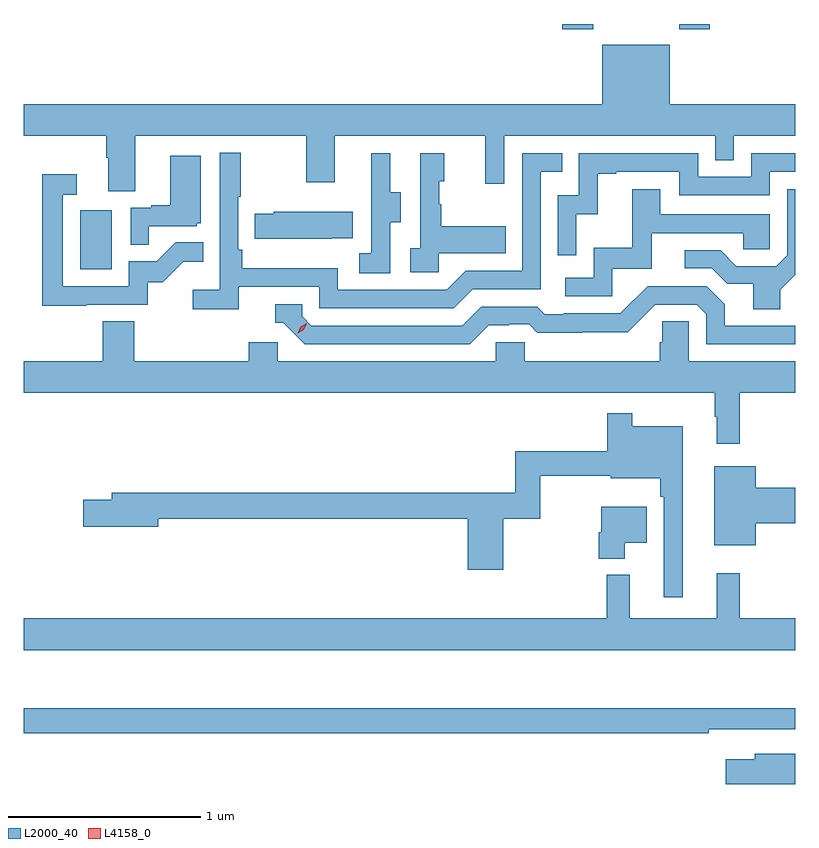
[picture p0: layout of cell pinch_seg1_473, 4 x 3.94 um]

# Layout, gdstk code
import gdstk
lib = gdstk.Library(unit=1e-6, precision=1e-09)
def R(c, l, rs):  # rectangles x0, y0, x1, y1
    for r in rs: c.add(gdstk.rectangle(r[:2], r[2:], *l))
def P(c, l, *ps):  # polygons
    for p in ps: c.add(gdstk.Polygon(p, *l))
L2000_40 = (2000, 40)
L4158_0 = (4158, 0)

pinch_seg1_473 = lib.new_cell('pinch_seg1_473')
R(pinch_seg1_473, L2000_40, [(1108.154,525.732,1108.318,526.039), (1110.653,526.977,1110.813,527.004), (1111.258,526.977,1111.418,527.004)])
P(pinch_seg1_473, L2000_40, [(1107.861,526.424),(1108.289,526.424),(1108.289,526.312),(1108.301,526.312),(1108.301,526.138),(1108.441,526.138),(1108.441,526.424),(1109.326,526.424),(1109.326,526.185),(1109.473,526.185),(1109.473,526.424),(1110.254,526.424),(1110.254,526.176),(1110.351,526.176),(1110.351,526.424),(1111.446,526.424),(1111.446,526.297),(1111.542,526.297),(1111.542,526.424),(1111.861,526.424),(1111.861,526.588),(1111.21,526.588),(1111.21,526.897),(1110.86,526.897),(1110.86,526.588),(1107.861,526.588)],
  [(1108.976,525.642),(1109.394,525.642),(1109.394,525.531),(1110.091,525.531),(1110.19,525.63),(1110.54,525.63),(1110.54,526.239),(1110.653,526.239),(1110.653,526.335),(1110.444,526.335),(1110.444,525.726),(1110.153,525.726),(1110.054,525.627),(1109.49,525.627),(1109.49,525.739),(1108.994,525.739),(1108.994,525.835),(1108.974,525.835),(1108.974,526.108),(1108.987,526.108),(1108.987,526.336),(1108.878,526.336),(1108.878,525.628),(1108.737,525.628),(1108.737,525.526),(1108.976,525.526)],
  [(1110.726,526.019),(1110.836,526.019),(1110.836,526.227),(1110.931,526.227),(1110.931,526.239),(1111.26,526.239),(1111.26,526.116),(1111.728,526.116),(1111.728,526.239),(1111.861,526.239),(1111.861,526.335),(1111.632,526.335),(1111.632,526.212),(1111.356,526.212),(1111.356,526.335),(1110.738,526.335),(1110.738,526.116),(1110.63,526.116),(1110.63,525.807),(1110.726,525.807)],
  [(1109.76,525.976),(1109.815,525.976),(1109.815,526.131),(1109.761,526.131),(1109.761,526.333),(1109.663,526.333),(1109.663,526.119),(1109.664,526.119),(1109.664,525.815),(1109.601,525.815),(1109.601,525.712),(1109.76,525.712)],
  [(1110.012,525.815),(1110.359,525.815),(1110.359,525.955),(1110.025,525.955),(1110.025,526.07),(1110.015,526.07),(1110.015,526.188),(1110.04,526.188),(1110.04,526.333),(1109.916,526.333),(1109.916,525.842),(1109.865,525.842),(1109.865,525.717),(1110.012,525.717)],
  [(1108.511,525.957),(1108.758,525.957),(1108.758,525.972),(1108.78,525.972),(1108.78,526.321),(1108.622,526.321),(1108.622,526.066),(1108.523,526.066),(1108.523,526.053),(1108.416,526.053),(1108.416,525.859),(1108.511,525.859)],
  [(1108.187,525.549),(1108.506,525.549),(1108.506,525.666),(1108.582,525.666),(1108.689,525.773),(1108.793,525.773),(1108.793,525.872),(1108.649,525.872),(1108.551,525.774),(1108.407,525.774),(1108.407,525.645),(1108.065,525.645),(1108.065,526.119),(1108.138,526.119),(1108.138,526.225),(1107.957,526.225),(1107.957,525.544),(1108.187,525.544)],
  [(1110.912,525.735),(1111.117,525.735),(1111.117,525.921),(1111.591,525.921),(1111.591,525.837),(1111.728,525.837),(1111.728,526.017),(1111.159,526.017),(1111.159,526.147),(1111.015,526.147),(1111.015,525.844),(1110.816,525.844),(1110.816,525.69),(1110.669,525.69),(1110.669,525.594),(1110.912,525.594)],
  [(1111.783,525.628),(1111.861,525.706),(1111.861,526.147),(1111.818,526.147),(1111.818,525.807),(1111.761,525.75),(1111.555,525.75),(1111.474,525.831),(1111.287,525.831),(1111.287,525.738),(1111.428,525.738),(1111.508,525.658),(1111.643,525.658),(1111.643,525.526),(1111.783,525.526)],
  [(1109.459,525.893),(1109.567,525.893),(1109.567,526.03),(1109.157,526.03),(1109.157,526.02),(1109.059,526.02),(1109.059,525.89),(1109.459,525.89)],
  [(1110.271,525.444),(1110.378,525.444),(1110.378,525.447),(1110.481,525.447),(1110.523,525.405),(1110.756,525.405),(1110.756,525.407),(1110.992,525.407),(1111.134,525.549),(1111.35,525.549),(1111.398,525.501),(1111.398,525.345),(1111.861,525.345),(1111.861,525.441),(1111.495,525.441),(1111.495,525.551),(1111.401,525.645),(1111.095,525.645),(1110.954,525.504),(1110.661,525.504),(1110.661,525.501),(1110.562,525.501),(1110.523,525.54),(1110.234,525.54),(1110.135,525.441),(1109.352,525.441),(1109.304,525.489),(1109.304,525.552),(1109.165,525.552),(1109.165,525.456),(1109.208,525.456),(1109.319,525.345),(1110.172,525.345)],
  [(1111.571,525.092),(1111.861,525.092),(1111.861,525.256),(1111.308,525.256),(1111.308,525.464),(1111.171,525.464),(1111.171,525.354),(1111.157,525.354),(1111.157,525.256),(1110.459,525.256),(1110.459,525.354),(1110.309,525.354),(1110.309,525.256),(1109.178,525.256),(1109.178,525.354),(1109.027,525.354),(1109.027,525.256),(1108.436,525.256),(1108.436,525.464),(1108.271,525.464),(1108.271,525.256),(1107.861,525.256),(1107.861,525.092),(1111.443,525.092),(1111.443,524.969),(1111.454,524.969),(1111.454,524.829),(1111.571,524.829)],
  [(1111.276,524.92),(1111.015,524.92),(1111.015,524.986),(1110.886,524.986),(1110.886,524.791),(1110.409,524.791),(1110.409,524.576),(1108.319,524.576),(1108.319,524.54),(1108.17,524.54),(1108.17,524.398),(1108.558,524.398),(1108.558,524.44),(1110.164,524.44),(1110.164,524.175),(1110.347,524.175),(1110.347,524.44),(1110.538,524.44),(1110.538,524.662),(1110.905,524.662),(1110.905,524.651),(1111.159,524.651),(1111.159,524.555),(1111.179,524.555),(1111.179,524.034),(1111.276,524.034)],
  [(1111.654,524.417),(1111.861,524.417),(1111.861,524.6),(1111.654,524.6),(1111.654,524.713),(1111.439,524.713),(1111.439,524.303),(1111.654,524.303)],
  [(1110.976,524.315),(1111.09,524.315),(1111.09,524.503),(1110.854,524.503),(1110.854,524.37),(1110.842,524.37),(1110.842,524.234),(1110.976,524.234)],
  [(1111.861,523.924),(1111.571,523.924),(1111.571,524.158),(1111.454,524.158),(1111.454,523.924),(1111.001,523.924),(1111.001,524.149),(1110.883,524.149),(1110.883,523.924),(1107.861,523.924),(1107.861,523.76),(1111.861,523.76)],
  [(1111.412,523.35),(1111.861,523.35),(1111.861,523.459),(1107.861,523.459),(1107.861,523.33),(1111.412,523.33)],
  [(1111.861,523.224),(1111.649,523.224),(1111.649,523.195),(1111.5,523.195),(1111.5,523.066),(1111.861,523.066)])
P(pinch_seg1_473, L4158_0, [(1109.283,525.401),(1109.283,525.402),(1109.298,525.434),(1109.328,525.454),(1109.329,525.454),(1109.329,525.454),(1109.313,525.421),(1109.283,525.401)])

lib.write_gds('pinch_seg1_473.gds')
